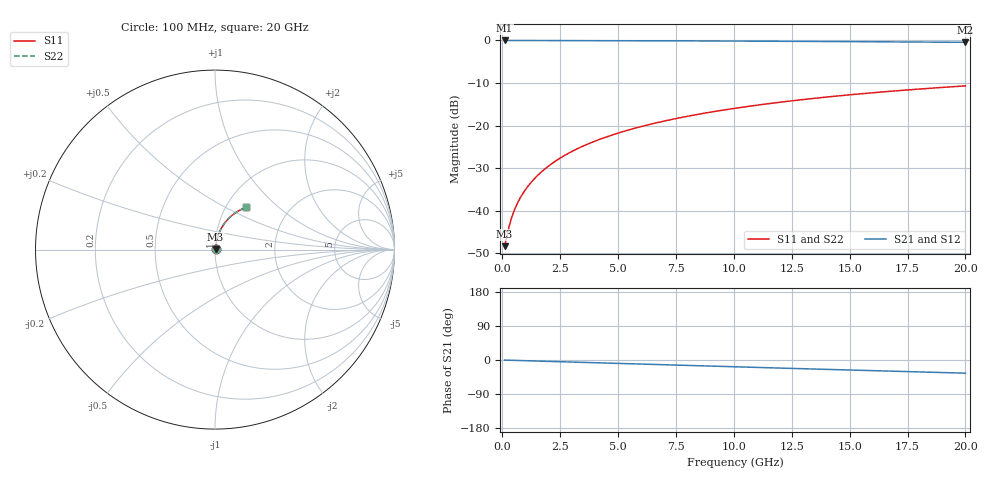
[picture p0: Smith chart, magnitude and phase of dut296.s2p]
! Touchstone file exported from HFSS 2026.1.0
!  File:  C:/ffzhzh/LocalFiles/Ansys_Project_Files/temp_train_TMRDL_296_1782985598_42984.aedt
!  Generated:  05:47:53 PM Jul  2, 2026
!  Design:  TMRDL
!  Project:  temp_train_TMRDL_296_1782985598_42984
! Variables:
!  h_bsmrdl = 2um
!  h_ox = 20um
!  h_rdl = 5um
!  h_sub = 80um
!  h_tmrdl = 2.05um
!  h_tsv = 80um
!  h_via = 3um
!  l_bsmrdl = 300um
!  l_sub = 898.87um
!  l_tmrdl = 498.87um
!  m_sub = 200um
!  pitch = 51.87um
!  r_tsv = 6um
!  s_tmrdl = 10um
!  w_bsmrdl = 18um
!  w_sub = 500um
!  w_tmrdl = 29.72um
!  x_tsv_center1 = 513.73um
!  x_tsv_center2 = 831.73um
!  x_tsv_center3 = 1360.32um
!  x_tsv_center4 = 1678.32um
!  x_tsv_center5 = 2206.91um
!  x_tsv_center6 = 2524.91um
# GHz S MA R 50.000000
! Terminal data exported
! Port[1] = TM_RDL1_1_T1
! Port[2] = TM_RDL1_1_T2
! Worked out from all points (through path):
!   200 points, 100 MHz to 20 GHz, reference 50 ohm
!   highest |S21| = -0.03 dB at 100 MHz (marker M1); lowest = -0.5 dB at 20 GHz (marker M2)
!   group delay of S21, straight-line fit = 4.83 ps
!   lowest |S11| = -48.3 dB at 100 MHz (marker M3), VSWR 1.01, Z = 50.3 + j0.19 ohm
!   |S11| at or under -10 dB: start of sweep to end of sweep
!   |S22| runs from -48.3 to -10.7 dB; largest |S21 - S12| = 3.1e-15
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0.1  0.00384 29.4  0.9967 -0.2  0.9967 -0.2  0.00384 29.4
! Gamma 0 0 0 0
! Port Impedance 50 0 50 0
0.2  0.005102 47.0  0.9965 -0.4  0.9965 -0.4  0.005102 47.0
0.3  0.006628 56.4  0.9964 -0.6  0.9964 -0.6  0.006628 56.4
0.4  0.008222 61.9  0.9962 -0.8  0.9962 -0.8  0.008222 61.9
0.5  0.009822 65.4  0.996 -1.0  0.996 -1.0  0.009822 65.4
0.6  0.01141 67.9  0.9959 -1.1  0.9959 -1.1  0.01141 67.9
0.8  0.01456 71.2  0.9956 -1.5  0.9956 -1.5  0.01456 71.2
1.1  0.01926 74.3  0.9953 -2.0  0.9953 -2.0  0.01926 74.3
1.3  0.02241 75.6  0.9951 -2.4  0.9951 -2.4  0.02241 75.6
1.6  0.02716 77.0  0.9949 -2.9  0.9949 -2.9  0.02716 77.0
2.1  0.03513 78.2  0.9945 -3.8  0.9945 -3.8  0.03513 78.2
2.7  0.04475 78.7  0.994 -4.9  0.994 -4.9  0.04475 78.7
3.5  0.05759 78.6  0.9932 -6.3  0.9932 -6.3  0.05759 78.6
4.2  0.0688 78.0  0.9924 -7.6  0.9924 -7.6  0.0688 78.0
5  0.08155 77.2  0.9913 -9.0  0.9913 -9.0  0.08155 77.2
5.9  0.0958 76.0  0.9899 -10.6  0.9899 -10.6  0.0958 76.1
6.8  0.1099 74.8  0.9882 -12.2  0.9882 -12.2  0.1099 74.8
8.3  0.1331 72.5  0.985 -14.9  0.985 -14.9  0.1331 72.5
10.1  0.1602 69.6  0.9806 -18.1  0.9806 -18.1  0.1602 69.6
13.4  0.2076 64.2  0.9709 -23.8  0.9709 -23.8  0.2076 64.2
16.7  0.2517 58.8  0.9596 -29.3  0.9596 -29.3  0.2517 58.9
20  0.292 53.5  0.9476 -34.7  0.9476 -34.7  0.292 53.6
